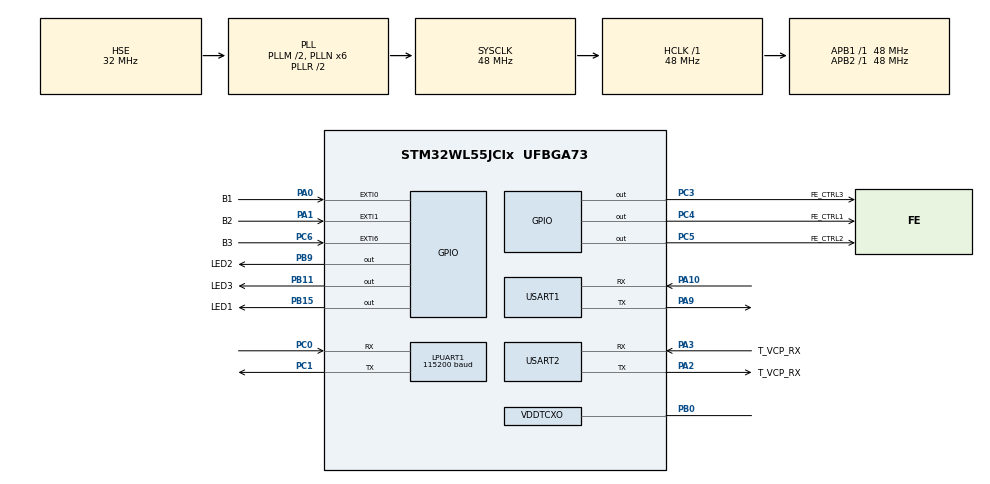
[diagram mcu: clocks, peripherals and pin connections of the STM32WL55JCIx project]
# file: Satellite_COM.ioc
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Dma.LPUART1_RX.0.Channel_PRIV_NPRIV=DMA_CHANNEL_NPRIV_DISABLE
Dma.LPUART1_RX.0.Direction=DMA_PERIPH_TO_MEMORY
Dma.LPUART1_RX.0.EventEnable=DISABLE
Dma.LPUART1_RX.0.Instance=DMA1_Channel1
Dma.LPUART1_RX.0.MemDataAlignment=DMA_MDATAALIGN_BYTE
Dma.LPUART1_RX.0.MemInc=DMA_MINC_ENABLE
Dma.LPUART1_RX.0.Mode=DMA_NORMAL
Dma.LPUART1_RX.0.PeriphDataAlignment=DMA_PDATAALIGN_BYTE
Dma.LPUART1_RX.0.PeriphInc=DMA_PINC_DISABLE
Dma.LPUART1_RX.0.Polarity=HAL_DMAMUX_REQ_GEN_RISING
Dma.LPUART1_RX.0.Priority=DMA_PRIORITY_LOW
Dma.LPUART1_RX.0.RequestNumber=1
Dma.LPUART1_RX.0.SignalID=NONE
Dma.LPUART1_RX.0.SyncEnable=DISABLE
Dma.LPUART1_RX.0.SyncPolarity=HAL_DMAMUX_SYNC_NO_EVENT
Dma.LPUART1_RX.0.SyncRequestNumber=1
Dma.LPUART1_RX.0.SyncSignalID=NONE
Dma.LPUART1_TX.1.Channel_PRIV_NPRIV=DMA_CHANNEL_NPRIV_DISABLE
Dma.LPUART1_TX.1.Direction=DMA_MEMORY_TO_PERIPH
Dma.LPUART1_TX.1.EventEnable=DISABLE
Dma.LPUART1_TX.1.Instance=DMA1_Channel2
Dma.LPUART1_TX.1.MemDataAlignment=DMA_MDATAALIGN_BYTE
Dma.LPUART1_TX.1.MemInc=DMA_MINC_ENABLE
Dma.LPUART1_TX.1.Mode=DMA_NORMAL
Dma.LPUART1_TX.1.PeriphDataAlignment=DMA_PDATAALIGN_BYTE
Dma.LPUART1_TX.1.PeriphInc=DMA_PINC_DISABLE
Dma.LPUART1_TX.1.Polarity=HAL_DMAMUX_REQ_GEN_RISING
Dma.LPUART1_TX.1.Priority=DMA_PRIORITY_LOW
Dma.LPUART1_TX.1.RequestNumber=1
Dma.LPUART1_TX.1.SignalID=NONE
Dma.LPUART1_TX.1.SyncEnable=DISABLE
Dma.LPUART1_TX.1.SyncPolarity=HAL_DMAMUX_SYNC_NO_EVENT
Dma.LPUART1_TX.1.SyncRequestNumber=1
Dma.LPUART1_TX.1.SyncSignalID=NONE
Dma.Request0=LPUART1_RX
Dma.Request1=LPUART1_TX
Dma.Request2=USART1_RX
Dma.Request3=USART1_TX
Dma.Request4=USART2_RX
Dma.Request5=USART2_TX
Dma.USART1_RX.2.Channel_PRIV_NPRIV=DMA_CHANNEL_NPRIV_DISABLE
Dma.USART1_RX.2.Direction=DMA_PERIPH_TO_MEMORY
Dma.USART1_RX.2.EventEnable=DISABLE
Dma.USART1_RX.2.Instance=DMA1_Channel3
Dma.USART1_RX.2.MemDataAlignment=DMA_MDATAALIGN_BYTE
Dma.USART1_RX.2.MemInc=DMA_MINC_ENABLE
Dma.USART1_RX.2.Mode=DMA_NORMAL
Dma.USART1_RX.2.PeriphDataAlignment=DMA_PDATAALIGN_BYTE
Dma.USART1_RX.2.PeriphInc=DMA_PINC_DISABLE
Dma.USART1_RX.2.Polarity=HAL_DMAMUX_REQ_GEN_RISING
Dma.USART1_RX.2.Priority=DMA_PRIORITY_LOW
Dma.USART1_RX.2.RequestNumber=1
Dma.USART1_RX.2.SignalID=NONE
Dma.USART1_RX.2.SyncEnable=DISABLE
Dma.USART1_RX.2.SyncPolarity=HAL_DMAMUX_SYNC_NO_EVENT
Dma.USART1_RX.2.SyncRequestNumber=1
Dma.USART1_RX.2.SyncSignalID=NONE
Dma.USART1_TX.3.Channel_PRIV_NPRIV=DMA_CHANNEL_NPRIV_DISABLE
Dma.USART1_TX.3.Direction=DMA_MEMORY_TO_PERIPH
Dma.USART1_TX.3.EventEnable=DISABLE
Dma.USART1_TX.3.Instance=DMA1_Channel4
Dma.USART1_TX.3.MemDataAlignment=DMA_MDATAALIGN_BYTE
Dma.USART1_TX.3.MemInc=DMA_MINC_ENABLE
Dma.USART1_TX.3.Mode=DMA_NORMAL
Dma.USART1_TX.3.PeriphDataAlignment=DMA_PDATAALIGN_BYTE
Dma.USART1_TX.3.PeriphInc=DMA_PINC_DISABLE
Dma.USART1_TX.3.Polarity=HAL_DMAMUX_REQ_GEN_RISING
Dma.USART1_TX.3.Priority=DMA_PRIORITY_LOW
Dma.USART1_TX.3.RequestNumber=1
Dma.USART1_TX.3.SignalID=NONE
Dma.USART1_TX.3.SyncEnable=DISABLE
Dma.USART1_TX.3.SyncPolarity=HAL_DMAMUX_SYNC_NO_EVENT
Dma.USART1_TX.3.SyncRequestNumber=1
Dma.USART1_TX.3.SyncSignalID=NONE
Dma.USART2_RX.4.Channel_PRIV_NPRIV=DMA_CHANNEL_NPRIV_DISABLE
Dma.USART2_RX.4.Direction=DMA_PERIPH_TO_MEMORY
Dma.USART2_RX.4.EventEnable=DISABLE
Dma.USART2_RX.4.Instance=DMA1_Channel5
Dma.USART2_RX.4.MemDataAlignment=DMA_MDATAALIGN_BYTE
Dma.USART2_RX.4.MemInc=DMA_MINC_ENABLE
Dma.USART2_RX.4.Mode=DMA_NORMAL
Dma.USART2_RX.4.PeriphDataAlignment=DMA_PDATAALIGN_BYTE
Dma.USART2_RX.4.PeriphInc=DMA_PINC_DISABLE
Dma.USART2_RX.4.Polarity=HAL_DMAMUX_REQ_GEN_RISING
Dma.USART2_RX.4.Priority=DMA_PRIORITY_LOW
Dma.USART2_RX.4.RequestNumber=1
Dma.USART2_RX.4.SignalID=NONE
Dma.USART2_RX.4.SyncEnable=DISABLE
Dma.USART2_RX.4.SyncPolarity=HAL_DMAMUX_SYNC_NO_EVENT
Dma.USART2_RX.4.SyncRequestNumber=1
Dma.USART2_RX.4.SyncSignalID=NONE
Dma.USART2_TX.5.Channel_PRIV_NPRIV=DMA_CHANNEL_NPRIV_DISABLE
Dma.USART2_TX.5.Direction=DMA_MEMORY_TO_PERIPH
Dma.USART2_TX.5.EventEnable=DISABLE
Dma.USART2_TX.5.Instance=DMA1_Channel6
Dma.USART2_TX.5.MemDataAlignment=DMA_MDATAALIGN_BYTE
Dma.USART2_TX.5.MemInc=DMA_MINC_ENABLE
Dma.USART2_TX.5.Mode=DMA_NORMAL
Dma.USART2_TX.5.PeriphDataAlignment=DMA_PDATAALIGN_BYTE
Dma.USART2_TX.5.PeriphInc=DMA_PINC_DISABLE
Dma.USART2_TX.5.Polarity=HAL_DMAMUX_REQ_GEN_RISING
Dma.USART2_TX.5.Priority=DMA_PRIORITY_LOW
Dma.USART2_TX.5.RequestNumber=1
Dma.USART2_TX.5.SignalID=NONE
Dma.USART2_TX.5.SyncEnable=DISABLE
Dma.USART2_TX.5.SyncPolarity=HAL_DMAMUX_SYNC_NO_EVENT
Dma.USART2_TX.5.SyncRequestNumber=1
Dma.USART2_TX.5.SyncSignalID=NONE
LPUART1.BaudRate=115200
Mcu.Family=STM32WL
Mcu.Name=STM32WL55JCIx
Mcu.Package=UFBGA73
NVIC.DMA1_Channel1_IRQn=true\:0\:0\:false\:false\:true\:false\:true\:true
NVIC.DMA1_Channel2_IRQn=true\:0\:0\:false\:false\:true\:false\:true\:true
NVIC.DMA1_Channel3_IRQn=true\:0\:0\:false\:false\:true\:false\:true\:true
NVIC.DMA1_Channel4_IRQn=true\:0\:0\:false\:false\:true\:false\:true\:true
NVIC.DMA1_Channel5_IRQn=true\:0\:0\:false\:false\:true\:false\:true\:true
NVIC.DMA1_Channel6_IRQn=true\:0\:0\:false\:false\:true\:false\:true\:true
NVIC.LPUART1_IRQn=true\:0\:0\:false\:false\:true\:true\:true\:true
NVIC.PriorityGroup=NVIC_PRIORITYGROUP_4
NVIC.SUBGHZ_Radio_IRQn=true\:0\:0\:false\:false\:true\:true\:true\:true
NVIC.USART1_IRQn=true\:0\:0\:false\:false\:true\:true\:true\:true
NVIC.USART2_IRQn=true\:0\:0\:false\:false\:true\:true\:true\:true
OSC_IN.Mode=HSE-TCXO
OSC_IN.Signal=RCC_OSC_IN
PA0.GPIO_Label=B1
PA0.GPIO_ModeDefaultEXTI=GPIO_MODE_IT_FALLING
PA0.GPIO_PuPd=GPIO_PULLUP
PA0.Signal=GPXTI0
PA1.GPIO_Label=B2
PA1.GPIO_ModeDefaultEXTI=GPIO_MODE_IT_FALLING
PA1.GPIO_PuPd=GPIO_PULLUP
PA1.Signal=GPXTI1
PA10.Mode=Asynchronous
PA10.Signal=USART1_RX
PA13.Mode=Serial_Wire
PA13.Signal=DEBUG_JTMS-SWDIO
PA14.Mode=Serial_Wire
PA14.Signal=DEBUG_JTCK-SWCLK
PA2.GPIO_Label=T_VCP_RX
PA2.Mode=Asynchronous
PA2.Signal=USART2_TX
PA3.GPIO_Label=T_VCP_RX
PA3.Mode=Asynchronous
PA3.Signal=USART2_RX
PA9.Mode=Asynchronous
PA9.Signal=USART1_TX
PB0-VDD_TCXO.Mode=HSE-TCXO
PB0-VDD_TCXO.Signal=VDDTCXO
PB11.GPIO_Label=LED3
PB11.GPIO_Speed=GPIO_SPEED_FREQ_HIGH
PB11.Signal=GPIO_Output
PB15.GPIO_Label=LED1
PB15.GPIO_Speed=GPIO_SPEED_FREQ_HIGH
PB15.Signal=GPIO_Output
PB9.GPIO_FM9=__NULL
PB9.GPIO_Label=LED2
PB9.GPIO_Speed=GPIO_SPEED_FREQ_HIGH
PB9.Signal=GPIO_Output
PC0.Mode=Asynchronous
PC0.Signal=LPUART1_RX
PC1.Mode=Asynchronous
PC1.Signal=LPUART1_TX
PC14-OSC32_IN.Signal=RCC_OSC32_IN
PC15-OSC32_OUT.Signal=RCC_OSC32_OUT
PC3.GPIO_Label=FE_CTRL3
PC3.GPIO_Speed=GPIO_SPEED_FREQ_VERY_HIGH
PC3.Signal=GPIO_Output
PC4.GPIO_Label=FE_CTRL1
PC4.GPIO_Speed=GPIO_SPEED_FREQ_VERY_HIGH
PC4.Signal=GPIO_Output
PC5.GPIO_Label=FE_CTRL2
PC5.GPIO_Speed=GPIO_SPEED_FREQ_VERY_HIGH
PC5.Signal=GPIO_Output
PC6.GPIO_Label=B3
PC6.GPIO_ModeDefaultEXTI=GPIO_MODE_IT_FALLING
PC6.GPIO_PuPd=GPIO_PULLUP
PC6.Signal=GPXTI6
ProjectManager.HeapSize=0x200
ProjectManager.StackSize=0x400
ProjectManager.TargetToolchain=STM32CubeIDE
RCC.AHBFreq_Value=48000000
RCC.APB1Freq_Value=48000000
RCC.APB1TimFreq_Value=48000000
RCC.APB2Freq_Value=48000000
RCC.APB2TimFreq_Value=48000000
RCC.APB3Freq_Value=48000000
RCC.CortexFreq_Value=48000000
RCC.HCLKFreq_Value=48000000
RCC.HSE_VALUE=32000000
RCC.HSI_VALUE=16000000
RCC.LSE_VALUE=32768
RCC.PLLM=RCC_PLLM_DIV2
RCC.PLLN=6
RCC.PLLSourceVirtual=RCC_PLLSOURCE_HSE
RCC.SYSCLKFreq_VALUE=48000000
RCC.SYSCLKSource=RCC_SYSCLKSOURCE_PLLCLK
RCC.VCOOutputFreq_Value=96000000
SUBGHZ.BaudratePrescaler=SUBGHZSPI_BAUDRATEPRESCALER_4
SUBGHZ_PHY.USE_LPM=false
TIM2.AutoReloadPreload=TIM_AUTORELOAD_PRELOAD_ENABLE
TIM2.Period=1000001-1
TIM2.Prescaler=48-1
USART1.VirtualMode-Asynchronous=VM_ASYNC
USART2.VirtualMode-Asynchronous=VM_ASYNC
VP_ADV_TRACE_VS_ADV_TRACE.Mode=ADV_TRACE_Enabled
VP_MISC_VS_MISC.Mode=MISC_Enabled
VP_SEQUENCER_M4_VS_SEQUENCER.Mode=SEQUENCER_Enabled
VP_SUBGHZ_PHY_VS_SubGhzPhy.Mode=SubGhzPhy_Enabled
VP_SUBGHZ_VS_SUBGHZ.Mode=SUBGHZ_Activate
VP_TIM2_VS_ClockSourceINT.Mode=Internal
VP_TIMER_VS_TIMER.Mode=TIMER_Enabled
VP_TINY_LPM_VS_TINY_LPM.Mode=TINY_LPM_Enabled
board=NUCLEO-WL55JC2

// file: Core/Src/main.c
/* USER CODE BEGIN Header */
/**
 ******************************************************************************
 * @file           : main.c
 * @brief          : Main program body
 ******************************************************************************
 * @attention
 *
 * Copyright (c) 2024 STMicroelectronics.
 * All rights reserved.
 *
 * This software is licensed under terms that can be found in the LICENSE file
 * in the root directory of this software component.
 * If no LICENSE file comes with this software, it is provided AS-IS.
 *
 ******************************************************************************
 */
/* USER CODE END Header */
#include "main.h"
#include "dma.h"
#include "usart.h"
#include "app_subghz_phy.h"
#include "tim.h"
#include "gpio.h"

/* USER CODE BEGIN Includes */
#include "radio_driver.h"
#include "com_debug.h"
#include "error_handler.h"
#include "ax25_generator.h"
#include "obc_interface.h"
/* USER CODE END Includes */

/* USER CODE BEGIN PM */
#define RX_BUFF_LENGTH			(105)
#define OBC_PAYLOAD_LENGTH		(85)
#define COM_PAYLOAD_LENGTH		(43)

#define FREQ_435_MHZ            (435313000) //UP-LINK
#define FREQ_437_MHZ			(437375000)	//DOWN-LINK

#define PA_DUTY_CYCLE           (0x07)
#define HP_MAX                  (0x00)
#define PA_SEL                  (0x01)

#define POWER                   (0x0E)
#define RAMP_TIME               (0x02)

#define GFSK_BR_1200            1200
#define GFSK_FDEV_1200          3000

#define GFSK_BR_4800            4800
#define GFSK_FDEV_4800          12000
/* USER CODE END PM */

/* USER CODE BEGIN PV */
PacketParams_t pkt_params;
ModulationParams_t mod_params;

uint8_t rx_buffer_len = RX_BUFF_LENGTH;
uint8_t rx_buffer[RX_BUFF_LENGTH];

uint8_t rssi_value = 0;

uint8_t obc_plen = OBC_PAYLOAD_LENGTH;
uint8_t obc_ilen = 0;

uint8_t OBC_UART_RX[OBC_PAYLOAD_LENGTH];

uint8_t COM_UART_TX[COM_PAYLOAD_LENGTH];
uint8_t com_uart_tx_p_len = COM_PAYLOAD_LENGTH;

int OBC_SUCCESS_DATA_RX_FLAG = 0;

uint8_t temp_tx_buffer[150];
uint8_t tx_buffer[150];
int tx_buffer_len = 0;

int OBC_HANDSHAKE_FLAG = 0;

int DIGIPEATER_STATUS = 0;
int BEACON_COUNT = 2;
int COUNT_BEACON = 2;

uint8_t PACKET_TYPE = 0;
int DIGIPEATER_FLAG = 0;
int DIGIPEATER_RX_FLAG = 0;

int packet_type_true = 0;

int RX_FLAG = 0;    //  1 when received

int IS_EN_REQ_PA = 0;

/* USER CODE END PV */

void SystemClock_Config(void);
/* USER CODE BEGIN PFP */

void enableReqPA();
int countsDataBetweenFlags(uint8_t *data, int data_length);
void setPacketParams(uint8_t buffer_length);
void setModulationParams(unsigned long bitRate, unsigned long fDev);
void radioConfig(uint8_t *buffer, uint8_t buffer_len);
void DioIrqHndlr(RadioIrqMasks_t radioIrq);
void HAL_UART_RxCpltCallback(UART_HandleTypeDef *huart);
/* USER CODE END PFP */

/* USER CODE BEGIN 0 */

void enableReqPA() {

	myDebug("\nCOM ACK Command TX to OBC, Length: %d bytes\r\n",
			sizeof(COM_UART_TX));

	if (HAL_UART_Transmit(&huart2, COM_UART_TX, com_uart_tx_p_len, 1000)
			== HAL_OK
			|| HAL_UART_Transmit(&hlpuart1, COM_UART_TX, com_uart_tx_p_len,
					1000) == HAL_OK) {

		IS_EN_REQ_PA = 1;

		obc_ilen = COM_UART_TX[2];

		for (int i = 0; i < sizeof(COM_UART_TX); i++) {
			myDebug("%02x ", COM_UART_TX[i]);
		}

		myDebug("\r\n");

		myDebug("\n-------- OBC, ACK Waiting from OBC------- ");
	}
}

int countsDataBetweenFlags(uint8_t *data, int data_length) {
	int found_first_7e = 0;
	int start_index = 0, end_index = 0;

	for (int i = 0; i < data_length; i++) {
		if (data[i] == 0x7e) {
			if (!found_first_7e) {
				found_first_7e = 1;
				start_index = i;
			} else {
				end_index = i;
				break;
			}
		}
	}

	if (end_index > start_index) {
		return end_index - start_index + 1;
	} else {
		return -1; // Return -1 if two 0x7E flags are not found
	}
}

void setPacketParams(uint8_t buffer_length) {
	pkt_params.PacketType = PACKET_TYPE_GFSK;
	pkt_params.Params.Gfsk.PayloadLength = buffer_length;
	pkt_params.Params.Gfsk.PreambleLength = 8;
	pkt_params.Params.Gfsk.PreambleMinDetect = RADIO_PREAMBLE_DETECTOR_08_BITS;
	pkt_params.Params.Gfsk.SyncWordLength = 3 << 3;
	pkt_params.Params.Gfsk.AddrComp = RADIO_ADDRESSCOMP_FILT_OFF;
	pkt_params.Params.Gfsk.HeaderType = RADIO_PACKET_FIXED_LENGTH;
	pkt_params.Params.Gfsk.CrcLength = RADIO_CRC_2_BYTES_CCIT;
	pkt_params.Params.Gfsk.DcFree = RADIO_DC_FREEWHITENING;
	SUBGRF_SetPacketParams(&pkt_params);

}
void setModulationParams(unsigned long bitRate, unsigned long fDev) {
	mod_params.PacketType = PACKET_TYPE_GFSK;
	mod_params.Params.Gfsk.Bandwidth = RX_BW_29300;
	mod_params.Params.Gfsk.BitRate = bitRate;
	mod_params.Params.Gfsk.Fdev = fDev;
	mod_params.Params.Gfsk.ModulationShaping = MOD_SHAPING_G_BT_1;
	SUBGRF_SetModulationParams(&mod_params);

}

void radioConfig(uint8_t *buffer, uint8_t buffer_len) {
	SUBGRF_SetBufferBaseAddress(0x00, 0x00);
	SUBGRF_SetPayload(buffer, buffer_len);
	SUBGRF_SetSyncWord(( uint8_t[] ) { 0xC1, 0x94, 0xC1, 0x00, 0x00, 0x00, 0x00,
					0x00 });
	SUBGRF_SetWhiteningSeed(0x01FF);
	SUBGRF_SetPaConfig(PA_DUTY_CYCLE, HP_MAX, PA_SEL, 0x01);
	SUBGRF_SetTxParams(RFO_LP, POWER, RAMP_TIME);
}

void HAL_UART_RxCpltCallback(UART_HandleTypeDef *huart) {
	if (huart == &huart2 || huart == &hlpuart1 || huart == &huart1) {

		if (OBC_HANDSHAKE_FLAG == 1) {

			uint8_t header = 0x00;

			if (OBC_UART_RX[0] == header || OBC_UART_RX[0] != 0x53) {

				for (int loop1 = 0; loop1 < sizeof(OBC_UART_RX); loop1++) {
					OBC_UART_RX[loop1] = OBC_UART_RX[loop1 + 1];
				}
			}

			if (IS_EN_REQ_PA == 1) {

				IS_EN_REQ_PA = 0;

				OBC_SUCCESS_DATA_RX_FLAG = 1;

			} else {

				IS_EN_REQ_PA = 0;

				packet_type_true = check_packet_type(OBC_UART_RX);

				if (packet_type_true == 1) {

					if (DIGIPEATER_STATUS == 1 && BEACON_COUNT == 0
							&& DIGIPEATER_RX_FLAG == 1) {

						OBC_SUCCESS_DATA_RX_FLAG = 0;

//					myDebug("\n--> Digipeater Data Received from OBC: 0x%x\r\n",
//							OBC_UART_RX);
//					for (int i = 0; i < sizeof(OBC_UART_RX); i++) {
//						myDebug("%02x ", OBC_UART_RX[i]);
//					}
//					myDebug("\r\n");

						if (OBC_UART_RX[0] == 0x53 && OBC_UART_RX[83] == 0x7E) {
							myDebug(
									"--> Correct Digipeater Data received from OBC\n");
							obc_ilen = OBC_UART_RX[2];  //len of info
							PACKET_TYPE = OBC_UART_RX[1]; //packet_type
							DIGIPEATER_FLAG = 1;

							getAX25Packet(OBC_UART_RX, obc_ilen);

							tx_buffer_len = countsDataBetweenFlags(
									temp_tx_buffer, sizeof(temp_tx_buffer));

//						myDebug(		"Digipeater Packet complete, ready to TX: 0x%x\r\n", temp_tx_buffer);
							for (int j = 0; j < tx_buffer_len; j++) {
								tx_buffer[j] = temp_tx_buffer[j];
//							myDebug("%02x ", tx_buffer[j]);
							}
//						myDebug("\r\n");
//						myDebug("size of tx_buffer = %d\r\n", tx_buffer_len);

							memset(OBC_UART_RX, '\0', obc_ilen);
							memset(temp_tx_buffer, '\0',
									sizeof(temp_tx_buffer));

							delay_us(500000);

							setPacketParams(tx_buffer_len);
							setModulationParams(GFSK_BR_1200,
							GFSK_FDEV_1200);
							radioConfig(tx_buffer, tx_buffer_len);

							myDebug(
									"\n########## TX Configuration: ##########\n");

							myDebug("FREQUENCY MODS: DOWNLINK FREQ: %lu Hz\r\n",
							FREQ_437_MHZ);
							myDebug("Bit Rate: 	%d\n\r",
									mod_params.Params.Gfsk.BitRate);
							myDebug("Frequency Deviation: 	%d\n\r",
									mod_params.Params.Gfsk.Fdev);
							myDebug("RECEVING BANDWIDTH: 	%d\n\r",
									mod_params.Params.Gfsk.Bandwidth);
							myDebug("Packet Type 			%d\n\r",
									pkt_params.PacketType);
							myDebug("PayloadLength 			%d\n\r",
									pkt_params.Params.Gfsk.PayloadLength);
							myDebug("PreambleLength 		%d\n\r",
									pkt_params.Params.Gfsk.PreambleLength);
							myDebug("PreambleMinDetect		%d\n\r",
									pkt_params.Params.Gfsk.PreambleMinDetect);
							myDebug("HeaderType 			%d\n\r",
									pkt_params.Params.Gfsk.HeaderType);
							myDebug(
									"__________*******************__________\r\n");

							SUBGRF_SetRfFrequency(FREQ_437_MHZ);
							SUBGRF_SetSwitch(RFO_LP, RFSWITCH_TX);
							SUBGRF_SendPayload(tx_buffer, tx_buffer_len, 0);

						} else {
							myDebug(
									"*** Incorrect Digipeater Data received from OBC\n");
							if (HAL_UART_Transmit(&huart2, OBC_UART_RX,
									obc_plen, 2000) == HAL_OK
									|| HAL_UART_Transmit(&hlpuart1, OBC_UART_RX,
											obc_plen, 2000) == HAL_OK) {
								myDebug(
										"*** Incorrect Digipeater Data re-transmit to OBC, Length: %d bytes\r\n",
										sizeof(OBC_UART_RX));

								for (int i = 0; i < sizeof(OBC_UART_RX); i++) {
									myDebug("%02x ", OBC_UART_RX[i]);
								}

								myDebug("\r\n");

								memset(OBC_UART_RX, '\0', sizeof(OBC_UART_RX));

								OBC_SUCCESS_DATA_RX_FLAG = 0;
								DIGIPEATER_FLAG = 0;
							}
						}

					} else {

//					myDebug("\n--> Command Received from OBC: 0x%x\r\n",
//							OBC_UART_RX);
//					for (int i = 0; i < sizeof(OBC_UART_RX); i++) {
//						myDebug("%02x ", OBC_UART_RX[i]);
//					}
//					myDebug("\r\n");

						if (OBC_UART_RX[0] == 0x53
								&& OBC_UART_RX[(83)] == 0x7E) {
//						myDebug("--> Correct command received from OBC\n");
							obc_ilen = OBC_UART_RX[2];  //len of info
							PACKET_TYPE = OBC_UART_RX[1]; //packet_type

							if (PACKET_TYPE == 0xB1) {
								BEACON_COUNT = 2;
								COUNT_BEACON = 2;
							}

							OBC_SUCCESS_DATA_RX_FLAG = 1;
						} else {
							myDebug(
									"*** Incorrect command received from OBC\n");
							if (HAL_UART_Transmit(&huart2, OBC_UART_RX,
									obc_plen, 2000) == HAL_OK
									|| HAL_UART_Transmit(&hlpuart1, OBC_UART_RX,
											obc_plen, 2000) == HAL_OK) {
								myDebug(
										"*** Incorrect command re-transmit to OBC, Length: %d bytes\r\n",
										sizeof(OBC_UART_RX));

								for (int i = 0; i < sizeof(OBC_UART_RX); i++) {
									myDebug("%02x ", OBC_UART_RX[i]);
								}

								myDebug("\r\n");

								memset(OBC_UART_RX, '\0', sizeof(OBC_UART_RX));

								OBC_SUCCESS_DATA_RX_FLAG = 0;
							}
						}
					}
				} else {
					myDebug("*** Incorrect packet type received from OBC\n");

					if (HAL_UART_Transmit(&huart2, OBC_UART_RX, obc_plen, 1000)
							== HAL_OK
							|| HAL_UART_Transmit(&hlpuart1, OBC_UART_RX,
									obc_plen, 1000) == HAL_OK) {
						myDebug(
								"*** Incorrect command re-transmit to OBC, Length: %d\r\n",
								sizeof(OBC_UART_RX));

						for (int i = 0; i < sizeof(OBC_UART_RX); i++) {
							myDebug("%02x ", OBC_UART_RX[i]);
						}

						myDebug("\r\n");

						memset(OBC_UART_RX, '\0', sizeof(OBC_UART_RX));

						OBC_SUCCESS_DATA_RX_FLAG = 0;
					}
				}
			}

			HAL_UART_Receive_DMA(&huart2, OBC_UART_RX, obc_plen);

			HAL_UART_Receive_DMA(&hlpuart1, OBC_UART_RX, obc_plen);
		}
	}
}

/* USER CODE END 0 */

int main(void) {

	/* MCU Configuration--------------------------------------------------------*/

	/* Reset of all peripherals, Initializes the Flash interface and the Systick. */
	HAL_Init();

	/* Configure the system clock */
	SystemClock_Config();

	/* Initialize all configured peripherals */
	MX_GPIO_Init();
	MX_DMA_Init();
	MX_USART2_UART_Init();
	MX_LPUART1_UART_Init();
	MX_USART1_UART_Init();
	MX_SubGHz_Phy_Init();
	MX_TIM2_Init();
	/* USER CODE BEGIN 2 */

	HAL_TIM_Base_Start(&htim2);

	myDebug("########## Slippers2Sat SATELLITE COM: BEGIN ##########\r\n");
	myDebug("########## COMMUNICATION PARAMETERS ##########\r\n");
	myDebug("Modulation: GFSK PACKET\r\n");
	myDebug("FREQUENCY MODES: DOWNLINK FREQ: %luHz and UPLINK FREQ: %lu Hz\r\n",
	FREQ_437_MHZ, FREQ_435_MHZ);
	myDebug("STM32 BSP_SubGHz-WL Radio: Low Power\n");
	myDebug(
			"POWER CONFIG:::- \n"
					"\t PA_DUTY_CYCLE: %x, HP_MAX: %x, PA_SEL: %x, POWER TX: %u dBm\r\n",
			PA_DUTY_CYCLE, HP_MAX, PA_SEL, POWER);

	myDebug("\n########## Wait for Handshake ##########\r\n");

	while (OBC_HANDSHAKE_FLAG == 0) {
		WAIT_FOR_HANDSHAKE();
	}

	SUBGRF_Init(DioIrqHndlr);

	SUBGRF_SetDioIrqParams(
			IRQ_TX_DONE | IRQ_PREAMBLE_DETECTED | IRQ_RX_DONE
					| IRQ_RX_TX_TIMEOUT | IRQ_SYNCWORD_VALID,
			IRQ_TX_DONE | IRQ_PREAMBLE_DETECTED | IRQ_RX_DONE
					| IRQ_RX_TX_TIMEOUT | IRQ_SYNCWORD_VALID, IRQ_RADIO_NONE,
			IRQ_RADIO_NONE);

	setPacketParams(rx_buffer_len);
	setModulationParams(GFSK_BR_1200, GFSK_FDEV_1200);
	radioConfig(rx_buffer, rx_buffer_len);

	myDebug(
			"\n########## Operation Starts, Perform any one operation: ##########\r\n");
	myDebug("1. Transmit from Satellite\r\n");
	myDebug("2. Wait to receive GS Command\r\n");

	myDebug("\n########## RX Configuration: ##########\n");

	myDebug("FREQUENCY MODS: UPLINK FREQ: %lu Hz\r\n", FREQ_435_MHZ);
	myDebug("Bit Rate: 	%d\n\r", mod_params.Params.Gfsk.BitRate);
	myDebug("Frequency Deviation: 	%d\n\r", mod_params.Params.Gfsk.Fdev);
	myDebug("RECEVING BANDWIDTH: 	%d\n\r", mod_params.Params.Gfsk.Bandwidth);
	myDebug("Packet Type 			%d\n\r", pkt_params.PacketType);
	myDebug("PayloadLength 			%d\n\r", pkt_params.Params.Gfsk.PayloadLength);
	myDebug("PreambleLength 		%d\n\r", pkt_params.Params.Gfsk.PreambleLength);
	myDebug("PreambleMinDetect		%d\n\r",
			pkt_params.Params.Gfsk.PreambleMinDetect);
	myDebug("HeaderType 			%d\n\r", pkt_params.Params.Gfsk.HeaderType);
	myDebug("__________*******************__________\r\n");

	SUBGRF_SetRfFrequency(FREQ_435_MHZ);
	SUBGRF_SetSwitch(RFO_LP, RFSWITCH_RX); /*Set RF switch*/
	SUBGRF_SetRxBoosted(0xFFFFFF);

	HAL_UART_Receive_DMA(&huart2, OBC_UART_RX, obc_plen);

	HAL_UART_Receive_DMA(&hlpuart1, OBC_UART_RX, obc_plen);

	/* USER CODE END 2 */

	/* Infinite loop */
	while (1) {
		MX_SubGHz_Phy_Process();

		/* USER CODE BEGIN 3 */

		delay_us(500000);

		if (OBC_SUCCESS_DATA_RX_FLAG == 1) {

			getAX25Packet(OBC_UART_RX, obc_ilen);

			tx_buffer_len = countsDataBetweenFlags(temp_tx_buffer,
					sizeof(temp_tx_buffer));

//			myDebug("AX.25 complete GS packet ready to TX: 0x%x\r\n",ntemp_tx_buffer);
			for (int j = 0; j < tx_buffer_len; j++) {
				tx_buffer[j] = temp_tx_buffer[j];
//				myDebug("%02x ", tx_buffer[j]);
			}
//			myDebug("\r\n");
//			myDebug("size of tx_buffer = %d\r\n", tx_buffer_len);

			memset(OBC_UART_RX, '\0', obc_ilen);
			memset(temp_tx_buffer, '\0', sizeof(temp_tx_buffer));

			setPacketParams(tx_buffer_len);
			setModulationParams(GFSK_BR_4800, GFSK_FDEV_4800);
			radioConfig(tx_buffer, tx_buffer_len);

			myDebug("\n########## TX Configuration: ##########\n");

			myDebug("FREQUENCY MODS: DOWNLINK FREQ: %lu Hz\r\n",
			FREQ_437_MHZ);
			myDebug("Bit Rate: 	%d\n\r", mod_params.Params.Gfsk.BitRate);
			myDebug("Frequency Deviation: 	%d\n\r",
					mod_params.Params.Gfsk.Fdev);
			myDebug("RECEVING BANDWIDTH: 	%d\n\r",
					mod_params.Params.Gfsk.Bandwidth);
			myDebug("Packet Type 			%d\n\r", pkt_params.PacketType);
			myDebug("PayloadLength 			%d\n\r",
					pkt_params.Params.Gfsk.PayloadLength);
			myDebug("PreambleLength 		%d\n\r",
					pkt_params.Params.Gfsk.PreambleLength);
			myDebug("PreambleMinDetect		%d\n\r",
					pkt_params.Params.Gfsk.PreambleMinDetect);
			myDebug("HeaderType 			%d\n\r", pkt_params.Params.Gfsk.HeaderType);
			myDebug("__________*******************__________\r\n");

			SUBGRF_SetRfFrequency(FREQ_437_MHZ);
			SUBGRF_SetSwitch(RFO_LP, RFSWITCH_TX);
			SUBGRF_SendPayload(tx_buffer, tx_buffer_len, 0);

		} else if (RX_FLAG == 1) {
			RX_FLAG = 0;

			uint8_t temp_rx_buffer_len = 0;
			temp_rx_buffer_len = countsDataBetweenFlags(rx_buffer,
					rx_buffer_len); // 7e...7e, size

			uint8_t crc_buff_len = temp_rx_buffer_len - 4;
			uint8_t crc_buff[crc_buff_len];

			int j = 0;
			for (int i = 1; i <= crc_buff_len; i++) {
				crc_buff[j] = rx_buffer[i]; // index 1 to previous byte of crc
				//				myDebug("%02x ", crc_buff[j]);
				j++;
			}

			memset(rx_buffer, '\0', sizeof(rx_buffer));

			uint8_t gs_cmd_buff[100];
			int gs_cmd_len = bit_destuffing(crc_buff, gs_cmd_buff,
					crc_buff_len);
			//gs_cmd_len--;

			uint8_t main_gs_cmd[gs_cmd_len];
			for (int i = 0; i < gs_cmd_len; i++) {
				main_gs_cmd[i] = gs_cmd_buff[i];
			}

			if (COUNT_BEACON == 1) { // first beacon tx

				if ((main_gs_cmd[18] == 0xDF && main_gs_cmd[19] == 0xAB
						&& main_gs_cmd[20] == 0xD1) // Enable Digipeater Mission
						|| (main_gs_cmd[18] == 0x53 && main_gs_cmd[19] == 0x02
								&& main_gs_cmd[20] == 0x53)) { // Digipeater Packet

					myDebug("\n********GS Command failed: 0x%x\r\n");

					COM_UART_TX[0] = 0x53;  //header
					COM_UART_TX[1] = 0xac;  //packet_type
					COM_UART_TX[2] = 0x04;  //length_of_info
					COM_UART_TX[3] = 0x02;  //mcu_no
					COM_UART_TX[4] = 0xfc;	//false_command
					COM_UART_TX[5] = 0xee;  // error_prefix

					for (int i = 6; i < com_uart_tx_p_len; i++) {
						COM_UART_TX[i] = 0x00;
					}

					enableReqPA();

					memset(main_gs_cmd, '\0', sizeof(main_gs_cmd));

				} else if (main_gs_cmd[18] == 0xFD && main_gs_cmd[19] == 0xBA
						&& main_gs_cmd[20] == 0xD0) { // Digipeater Disable

					BEACON_COUNT = 2;
					OBC_SUCCESS_DATA_RX_FLAG = 0;
					DIGIPEATER_STATUS = 0;
					DIGIPEATER_FLAG = 0;

					myDebug("\n-------> Digipeater MODE OFF\n\n");

					COM_UART_TX[0] = 0x53;	//header
					COM_UART_TX[1] = 0xac;	//packet_ type
					COM_UART_TX[2] = 0x04;	//length of info
					COM_UART_TX[3] = 0x02;	//mcu_no
					COM_UART_TX[4] = 0x00;	//Digipeater OFF
					COM_UART_TX[5] = 0xdd;	//Digipeater prefix

					for (int i = 6; i < com_uart_tx_p_len; i++) {
						COM_UART_TX[i] = 0x00;
					}

					enableReqPA();

					memset(main_gs_cmd, '\0', sizeof(main_gs_cmd));
					memset(rx_buffer, '\0', sizeof(rx_buffer));
					memset(crc_buff, '\0', sizeof(crc_buff));
					memset(gs_cmd_buff, '\0', sizeof(gs_cmd_buff));

				} else {
					myDebug("\nCommand sent to OBC, Length: %d bytes\r\n",
							sizeof(COM_UART_TX));

					memset(COM_UART_TX, 0x7e, sizeof(COM_UART_TX));

					for (int i = 0; i < gs_cmd_len; i++) {
						COM_UART_TX[i] = main_gs_cmd[i];
					}

					if (HAL_UART_Transmit(&huart2, COM_UART_TX,
							sizeof(COM_UART_TX), 2000) == HAL_OK
							|| HAL_UART_Transmit(&hlpuart1, COM_UART_TX,
									sizeof(COM_UART_TX), 2000)) {

						for (int i = 0; i < sizeof(COM_UART_TX); i++) {
							myDebug("%02x ", COM_UART_TX[i]);
						}

						SUBGRF_SetRfFrequency(FREQ_435_MHZ);
						SUBGRF_SetSwitch(RFO_LP, RFSWITCH_RX); /*Set RF switch*/
						SUBGRF_SetRxBoosted(0xFFFFFF);

						memset(main_gs_cmd, '\0', sizeof(main_gs_cmd));
						memset(COM_UART_TX, 0x7e, sizeof(COM_UART_TX));
						memset(rx_buffer, '\0', sizeof(rx_buffer));
						memset(crc_buff, '\0', sizeof(crc_buff));
						memset(gs_cmd_buff, '\0', sizeof(gs_cmd_buff));

						myDebug("\n\n_____OBC__RECEIVER_____\r\n");
					}

				}
			} else if (COUNT_BEACON == 0) {
				if (DIGIPEATER_STATUS == 1) {
					if (main_gs_cmd[18] == 0xFD && main_gs_cmd[19] == 0xBA
							&& main_gs_cmd[20] == 0xD0) {

						BEACON_COUNT = 2;
						OBC_SUCCESS_DATA_RX_FLAG = 0;
						DIGIPEATER_STATUS = 0;
						DIGIPEATER_FLAG = 0;

						myDebug("\n-------> Digipeater MODE OFF\n\n");

						COM_UART_TX[0] = 0x53;	//header
						COM_UART_TX[1] = 0xac;	//packet_ type
						COM_UART_TX[2] = 0x04;	//length of info
						COM_UART_TX[3] = 0x02;	//mcu_no
						COM_UART_TX[4] = 0x00;	//Digipeater OFF
						COM_UART_TX[5] = 0xdd;	//Digipeater prefix

						for (int i = 6; i < com_uart_tx_p_len; i++) {
							COM_UART_TX[i] = 0x00;
						}

						enableReqPA();

						memset(main_gs_cmd, '\0', sizeof(main_gs_cmd));
						memset(rx_buffer, '\0', sizeof(rx_buffer));
						memset(crc_buff, '\0', sizeof(crc_buff));
						memset(gs_cmd_buff, '\0', sizeof(gs_cmd_buff));

					} else if (main_gs_cmd[18] == 0xDF
							&& main_gs_cmd[19] == 0xAB
							&& main_gs_cmd[20] == 0xD1) { //Digipeater on

						BEACON_COUNT = 0;
						OBC_SUCCESS_DATA_RX_FLAG = 0;
						DIGIPEATER_STATUS = 1;

						myDebug("\n-------> Digipeater MODE ON\n\n");

						COM_UART_TX[0] = 0x53;	//header
						COM_UART_TX[1] = 0xac;	//packet_ type
						COM_UART_TX[2] = 0x04;	//length of info
						COM_UART_TX[3] = 0x02;	//mcu_no
						COM_UART_TX[4] = 0x01;	//Digipeater ON
						COM_UART_TX[5] = 0xdd;	//Digipeater prefix

						for (int i = 6; i < com_uart_tx_p_len; i++) {
							COM_UART_TX[i] = 0x00;
						}

						enableReqPA();

						memset(main_gs_cmd, '\0', sizeof(main_gs_cmd));
						memset(rx_buffer, '\0', sizeof(rx_buffer));
						memset(crc_buff, '\0', sizeof(crc_buff));
						memset(gs_cmd_buff, '\0', sizeof(gs_cmd_buff));

					} else if (main_gs_cmd[18] == 0x53
							&& main_gs_cmd[19] == 0x02
							&& main_gs_cmd[20] == 0x53) { // if digipeater packet
						myDebug(
								"\nDigipeater packet sent to OBC, Length: %d bytes\r\n",
								gs_cmd_len);
						if (HAL_UART_Transmit(&huart2, main_gs_cmd,
								sizeof(main_gs_cmd), 2000) == HAL_OK
								|| HAL_UART_Transmit(&hlpuart1, main_gs_cmd,
										sizeof(main_gs_cmd), 2000) == HAL_OK) {

							for (int i = 0; i < gs_cmd_len; i++) {
								myDebug("%02x ", main_gs_cmd[i]);
							}

							myDebug("\r\n");

							memset(main_gs_cmd, '\0', sizeof(main_gs_cmd));
							memset(rx_buffer, '\0', sizeof(rx_buffer));
							memset(crc_buff, '\0', sizeof(crc_buff));
							memset(gs_cmd_buff, '\0', sizeof(gs_cmd_buff));

							myDebug(
									"\n\n_____DIGIPEATER_OBC__RECEIVER_____\r\n");
							DIGIPEATER_RX_FLAG = 1;
						}
					} else {
						myDebug("\n********GS Command failed: 0x%x\r\n");

						COM_UART_TX[0] = 0x53;	//header
						COM_UART_TX[1] = 0xac;	//packet_ type
						COM_UART_TX[2] = 0x04;	//length of info
						COM_UART_TX[3] = 0x02;	//mcu_no
						COM_UART_TX[4] = 0xfc;	//false command
						COM_UART_TX[5] = 0xee;	//error prefix

						for (int i = 6; i < com_uart_tx_p_len; i++) {
							COM_UART_TX[i] = 0x00;
						}

						enableReqPA();

						memset(main_gs_cmd, '\0', sizeof(main_gs_cmd));

					}
				} else if (DIGIPEATER_STATUS == 0) {
					if (main_gs_cmd[18] == 0xFD && main_gs_cmd[19] == 0xBA
							&& main_gs_cmd[20] == 0xD0) {

						BEACON_COUNT = 2;
						OBC_SUCCESS_DATA_RX_FLAG = 0;
						DIGIPEATER_STATUS = 0;
						DIGIPEATER_FLAG = 0;

						myDebug("\n-------> Digipeater MODE OFF\n\n");

						COM_UART_TX[0] = 0x53;	//header
						COM_UART_TX[1] = 0xac;	//packet_ type
						COM_UART_TX[2] = 0x04;	//length of info
						COM_UART_TX[3] = 0x02;	//mcu_no
						COM_UART_TX[4] = 0x00;	//Digipeater OFF
						COM_UART_TX[5] = 0xdd;	//Digipeater prefix

						for (int i = 6; i < com_uart_tx_p_len; i++) {
							COM_UART_TX[i] = 0x00;
						}

						enableReqPA();

						memset(main_gs_cmd, '\0', sizeof(main_gs_cmd));
						memset(rx_buffer, '\0', sizeof(rx_buffer));
						memset(crc_buff, '\0', sizeof(crc_buff));
						memset(gs_cmd_buff, '\0', sizeof(gs_cmd_buff));

					} else if (main_gs_cmd[18] == 0xDF
							&& main_gs_cmd[19] == 0xAB
							&& main_gs_cmd[20] == 0xD1) {

						BEACON_COUNT = 0;
						OBC_SUCCESS_DATA_RX_FLAG = 0;
						DIGIPEATER_STATUS = 1;

						myDebug("\n-------> Digipeater MODE ON\n\n");

						COM_UART_TX[0] = 0x53;	//header
						COM_UART_TX[1] = 0xac;	//packet_ type
						COM_UART_TX[2] = 0x04;	//length of info
						COM_UART_TX[3] = 0x02;	//mcu_no
						COM_UART_TX[4] = 0x01;	//Digipeater ON
						COM_UART_TX[5] = 0xdd;	//Digipeater prefix

						for (int i = 6; i < com_uart_tx_p_len; i++) {
							COM_UART_TX[i] = 0x00;
						}

						enableReqPA();

						memset(main_gs_cmd, '\0', sizeof(main_gs_cmd));
						memset(rx_buffer, '\0', sizeof(rx_buffer));
						memset(crc_buff, '\0', sizeof(crc_buff));
						memset(gs_cmd_buff, '\0', sizeof(gs_cmd_buff));

					} else if (main_gs_cmd[18] == 0x53
							&& main_gs_cmd[19] == 0x02
							&& main_gs_cmd[20] == 0x53) { // Digipeater Packet

						myDebug("\n********GS Command failed: 0x%x\r\n");

						COM_UART_TX[0] = 0x53;	//header
						COM_UART_TX[1] = 0xac;	//packet_ type
						COM_UART_TX[2] = 0x04;	//length of info
						COM_UART_TX[3] = 0x02;	//mcu_no
						COM_UART_TX[4] = 0xfc;	//false command
						COM_UART_TX[5] = 0xee;	//error prefix

						for (int i = 6; i < com_uart_tx_p_len; i++) {
							COM_UART_TX[i] = 0x00;
						}

						enableReqPA();

						memset(main_gs_cmd, '\0', sizeof(main_gs_cmd));

					} else {
						myDebug("\nCommand sent to OBC, Length: %d bytes\r\n",
								sizeof(COM_UART_TX));

						memset(COM_UART_TX, 0x7e, sizeof(COM_UART_TX));

						for (int i = 0; i < gs_cmd_len; i++) {
							COM_UART_TX[i] = main_gs_cmd[i];
						}

						if (HAL_UART_Transmit(&huart2, COM_UART_TX,
								sizeof(COM_UART_TX), 2000) == HAL_OK
								|| HAL_UART_Transmit(&hlpuart1, COM_UART_TX,
										sizeof(COM_UART_TX), 2000)) {

							for (int i = 0; i < sizeof(COM_UART_TX); i++) {
								myDebug("%02x ", COM_UART_TX[i]);
							}

							SUBGRF_SetRfFrequency(FREQ_435_MHZ);
							SUBGRF_SetSwitch(RFO_LP, RFSWITCH_RX); /*Set RF switch*/
							SUBGRF_SetRxBoosted(0xFFFFFF);

							memset(main_gs_cmd, '\0', sizeof(main_gs_cmd));
							memset(COM_UART_TX, 0x7e, sizeof(COM_UART_TX));
							memset(rx_buffer, '\0', sizeof(rx_buffer));
							memset(crc_buff, '\0', sizeof(crc_buff));
							memset(gs_cmd_buff, '\0', sizeof(gs_cmd_buff));

							myDebug("\n\n_____OBC__RECEIVER_____\r\n");
						}

					}
				}
			}
		}

		HAL_UART_Receive_DMA(&huart2, OBC_UART_RX, obc_plen);

		HAL_UART_Receive_DMA(&hlpuart1, OBC_UART_RX, obc_plen);
	}
	/* USER CODE END 3 */
}

void SystemClock_Config(void) {
	RCC_OscInitTypeDef RCC_OscInitStruct = { 0 };
	RCC_ClkInitTypeDef RCC_ClkInitStruct = { 0 };

	/** Configure the main internal regulator output voltage
	 */
	__HAL_PWR_VOLTAGESCALING_CONFIG(PWR_REGULATOR_VOLTAGE_SCALE1);

	/** Initializes the CPU, AHB and APB buses clocks
	 */
	RCC_OscInitStruct.OscillatorType = RCC_OSCILLATORTYPE_HSE;
	RCC_OscInitStruct.HSEState = RCC_HSE_BYPASS_PWR;
	RCC_OscInitStruct.HSEDiv = RCC_HSE_DIV1;
	RCC_OscInitStruct.PLL.PLLState = RCC_PLL_ON;
	RCC_OscInitStruct.PLL.PLLSource = RCC_PLLSOURCE_HSE;
	RCC_OscInitStruct.PLL.PLLM = RCC_PLLM_DIV2;
	RCC_OscInitStruct.PLL.PLLN = 6;
	RCC_OscInitStruct.PLL.PLLP = RCC_PLLP_DIV2;
	RCC_OscInitStruct.PLL.PLLR = RCC_PLLR_DIV2;
	RCC_OscInitStruct.PLL.PLLQ = RCC_PLLQ_DIV2;
	if (HAL_RCC_OscConfig(&RCC_OscInitStruct) != HAL_OK) {
		Error_Handler();
	}

	/** Configure the SYSCLKSource, HCLK, PCLK1 and PCLK2 clocks dividers
	 */
	RCC_ClkInitStruct.ClockType = RCC_CLOCKTYPE_HCLK3 | RCC_CLOCKTYPE_HCLK
			| RCC_CLOCKTYPE_SYSCLK | RCC_CLOCKTYPE_PCLK1 | RCC_CLOCKTYPE_PCLK2;
	RCC_ClkInitStruct.SYSCLKSource = RCC_SYSCLKSOURCE_PLLCLK;
	RCC_ClkInitStruct.AHBCLKDivider = RCC_SYSCLK_DIV1;
	RCC_ClkInitStruct.APB1CLKDivider = RCC_HCLK_DIV1;
	RCC_ClkInitStruct.APB2CLKDivider = RCC_HCLK_DIV1;
	RCC_ClkInitStruct.AHBCLK3Divider = RCC_SYSCLK_DIV1;

	if (HAL_RCC_ClockConfig(&RCC_ClkInitStruct, FLASH_LATENCY_2) != HAL_OK) {
		Error_Handler();
	}
}

/* USER CODE BEGIN 4 */
void DioIrqHndlr(RadioIrqMasks_t radioIrq) {
	if (radioIrq == IRQ_TX_DONE) {
		OBC_SUCCESS_DATA_RX_FLAG = 0;

		myDebug("\nSatellite Data Transmitted Successful, Length: %d bytes\r\n",
				tx_buffer_len);
		for (int i = 0; i < tx_buffer_len; i++) {
			myDebug("%02x ", tx_buffer[i]);
		}
		myDebug("\r\n");

		myDebug("\n########## Sending TX done response to OBC ##########\n");

		uint8_t tx_done_response[43];

		tx_done_response[0] = 0x42;	//header
		tx_done_response[1] = 0xac;	//packet_ type
		tx_done_response[2] = 0x04;	//length of info
		tx_done_response[3] = 0x02;	//mcu_no
		tx_done_response[4] = 0x4d;	//tx_done prefix
		tx_done_response[5] = 0x4d;	//tx_done prefix

		for (int i = 6; i < 43; i++) {
			tx_done_response[i] = 0x4d;
		}

		if (HAL_UART_Transmit(&huart2, tx_done_response,
				sizeof(tx_done_response), 2000) == HAL_OK
				|| HAL_UART_Transmit(&hlpuart1, tx_done_response,
						sizeof(tx_done_response), 2000) == HAL_OK) {

			for (int i = 0; i < sizeof(tx_done_response); i++) {
				myDebug("%02x ", tx_done_response[i]);
			}

			myDebug("\r\n");

		}

		memset(tx_buffer, '\0', sizeof(tx_buffer));

		if (PACKET_TYPE == 0xB1 || PACKET_TYPE == 0xB2) {
			BEACON_COUNT--;
			COUNT_BEACON--;
			PACKET_TYPE = 0;
		}

		if (DIGIPEATER_FLAG == 1) {
			BEACON_COUNT = 2;
			OBC_SUCCESS_DATA_RX_FLAG = 0;
			DIGIPEATER_STATUS = 0;
			DIGIPEATER_FLAG = 0;
			DIGIPEATER_RX_FLAG = 0;
		}

		if (BEACON_COUNT == 0) {
			OBC_SUCCESS_DATA_RX_FLAG = 0;
			DIGIPEATER_STATUS = 1;
			myDebug("\n########## Digipeater Mode Configuration: ##########\n");
		} else {
			DIGIPEATER_STATUS = 0;
		}

		delay_us(500000);

		setPacketParams(rx_buffer_len);
		setModulationParams(GFSK_BR_1200, GFSK_FDEV_1200);
		radioConfig(rx_buffer, rx_buffer_len);

		myDebug("\n########## RX Configuration: ##########\n");

		myDebug("FREQUENCY MODS: UPLINK FREQ: %lu Hz\r\n",
		FREQ_435_MHZ);
		myDebug("Bit Rate: 	%d\n\r", mod_params.Params.Gfsk.BitRate);
		myDebug("Frequency Deviation: 	%d\n\r", mod_params.Params.Gfsk.Fdev);
		myDebug("RECEVING BANDWIDTH: 	%d\n\r",
				mod_params.Params.Gfsk.Bandwidth);
		myDebug("Packet Type 			%d\n\r", pkt_params.PacketType);
		myDebug("PayloadLength 			%d\n\r",
				pkt_params.Params.Gfsk.PayloadLength);
		myDebug("PreambleLength 		%d\n\r",
				pkt_params.Params.Gfsk.PreambleLength);
		myDebug("PreambleMinDetect		%d\n\r",
				pkt_params.Params.Gfsk.PreambleMinDetect);
		myDebug("HeaderType 			%d\n\r", pkt_params.Params.Gfsk.HeaderType);
		myDebug("__________*******************__________\r\n");

		SUBGRF_SetRfFrequency(FREQ_435_MHZ);
		SUBGRF_SetSwitch(RFO_LP, RFSWITCH_RX); /*Set RF switch*/
		SUBGRF_SetRxBoosted(0xFFFFFF);

		HAL_UART_Receive_DMA(&huart2, OBC_UART_RX, obc_plen);

		HAL_UART_Receive_DMA(&hlpuart1, OBC_UART_RX, obc_plen);

		return;

	}

	if (radioIrq == IRQ_RX_DONE) {
		SUBGRF_GetPayload(rx_buffer, &rx_buffer_len, RX_BUFF_LENGTH);
		rssi_value = SUBGRF_GetRssiInst();
		myDebug("\nGS Command Received: 0x%x\r\n");

		uint8_t temp_rx_buffer_len = 0;
		temp_rx_buffer_len = countsDataBetweenFlags(rx_buffer, rx_buffer_len); // 7e...7e, size

		if (temp_rx_buffer_len != -1) {

			uint8_t temp_check_buff[temp_rx_buffer_len];
			for (int i = 0; i < temp_rx_buffer_len; i++) {
				temp_check_buff[i] = rx_buffer[i];
				myDebug("%02x ", temp_check_buff[i]); //display 7e to 7e
			}
			myDebug("\r\n");

			uint8_t crc_buff_len = temp_rx_buffer_len - 4;
			uint8_t crc_buff[crc_buff_len];

			//			myDebug("\nGS Command Testing: 0x%x\r\n");

			int j = 0;
			for (int i = 1; i <= crc_buff_len; i++) {
				crc_buff[j] = temp_check_buff[i]; // index 1 to previous byte of crc
				//				myDebug("%02x ", crc_buff[j]);
				j++;
			}
			myDebug("\r\n");

			uint16_t crc = 0;
			crc = calculateCRC_CCITT_AX25(crc_buff, crc_buff_len);

			uint8_t calc_crc[2];
			calc_crc[0] = (crc >> 8) & 0xFF;
			calc_crc[1] = crc & 0xFF;

			uint8_t msb_crc = temp_check_buff[temp_rx_buffer_len - 3];
			uint8_t lsb_crc = temp_check_buff[temp_rx_buffer_len - 2];

			if (calc_crc[0] == msb_crc && calc_crc[1] == lsb_crc) {
				//				myDebug("GS Command checksum correct: 0x%x\r\n");
				memset(temp_check_buff, '\0', sizeof(temp_check_buff));
				RX_FLAG = 1;

			} else {

				myDebug("\n********GS Command checksum incorrect: 0x%x\r\n");

				RX_FLAG = 0;

				COM_UART_TX[0] = 0x53;	//header
				COM_UART_TX[1] = 0xac;	//packet_ type
				COM_UART_TX[2] = 0x04;	//length of info
				COM_UART_TX[3] = 0x02;	//mcu_no
				COM_UART_TX[4] = 0xcc;	//checksum_error
				COM_UART_TX[5] = 0xee;	//error prefix

				for (int i = 6; i < com_uart_tx_p_len; i++) {
					COM_UART_TX[i] = 0x00;
				}

				enableReqPA();

			}

		} else {
			myDebug(
					"\n********GS Command Not Complete 7e.....7e not received: 0x%x\r\n");

			RX_FLAG = 0;

			COM_UART_TX[0] = 0x53;	//header
			COM_UART_TX[1] = 0xac;	//packet_ type
			COM_UART_TX[2] = 0x04;	//length of info
			COM_UART_TX[3] = 0x02;	//mcu_no
			COM_UART_TX[4] = 0x00;	// packet error
			COM_UART_TX[5] = 0xee;	//error prefix

			for (int i = 6; i < com_uart_tx_p_len; i++) {
				COM_UART_TX[i] = 0x00;
			}

			enableReqPA();
		}

		HAL_UART_Receive_DMA(&huart2, OBC_UART_RX, obc_plen);

		HAL_UART_Receive_DMA(&hlpuart1, OBC_UART_RX, obc_plen);

	}

	if (radioIrq == IRQ_RX_TX_TIMEOUT) {

		setPacketParams(rx_buffer_len);
		setModulationParams(GFSK_BR_1200, GFSK_FDEV_1200);
		radioConfig(rx_buffer, rx_buffer_len);

		myDebug("\n########## RX TX TIMEOUT ##########\n");

		SUBGRF_SetRfFrequency(FREQ_435_MHZ);
		SUBGRF_SetSwitch(RFO_LP, RFSWITCH_RX); /*Set RF switch*/
		SUBGRF_SetRxBoosted(0xFFFFFF);

		HAL_UART_Receive_DMA(&huart2, OBC_UART_RX, obc_plen);

		HAL_UART_Receive_DMA(&hlpuart1, OBC_UART_RX, obc_plen);
	}

}
/* USER CODE END 4 */

void Error_Handler(void) {
	__disable_irq();
	while (1) {
	}
}
